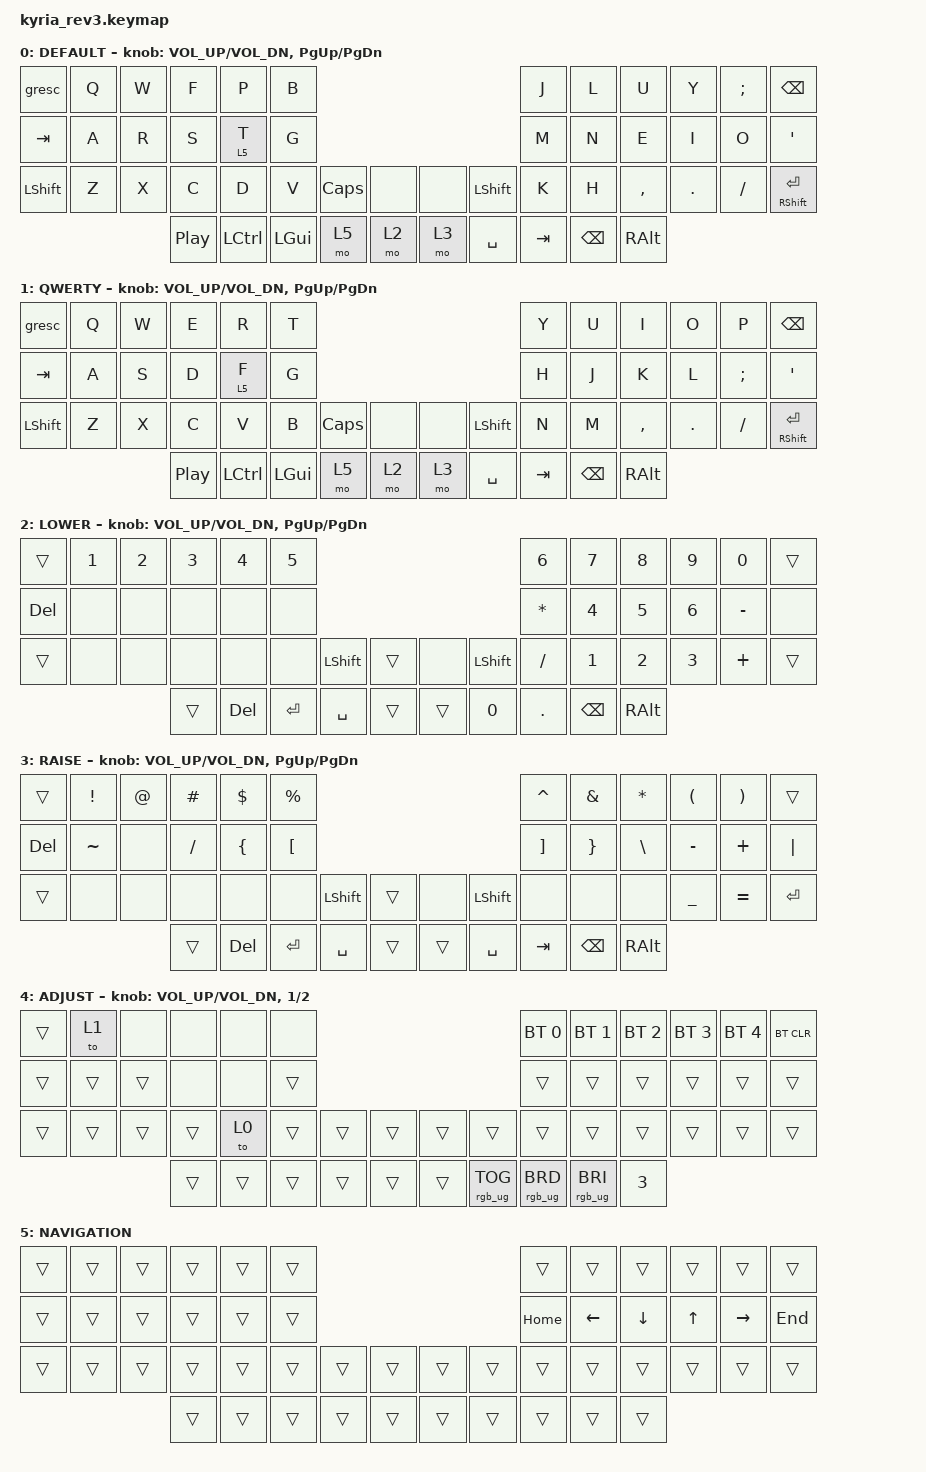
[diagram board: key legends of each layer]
/*
 * Copyright (c) 2023 The ZMK Contributors
 *
 * SPDX-License-Identifier: MIT
 */

#include <behaviors.dtsi>
#include <dt-bindings/zmk/bt.h>
#include <dt-bindings/zmk/keys.h>
#include <dt-bindings/zmk/rgb.h>

/* Layer name definitions. Top-to-bottom definition starting at zero and increasing by one.
 * See: https://github.com/zmkfirmware/zmk/issues/1284 for clarification.
 */

#define DEFAULT 0
#define QWERTY 1
#define LOWER 2
#define RAISE 3
#define ADJUST 4

&led_strip {
    chain-length = <31>; // Uncomment if using both per-key and underglow LEDs
};

&sensors { triggers-per-rotation = <36>; };

&left_encoder { steps = <72>; };

&right_encoder { steps = <72>; };

/ {
    behaviors {
        rgb_knob: rgb_knob {
            compatible = "zmk,behavior-sensor-rotate";
            #sensor-binding-cells = <0>;
            bindings = <&rgb_ug RGB_BRI>, <&rgb_ug RGB_BRD>;
        };
    };

    conditional_layers {
        compatible = "zmk,conditional-layers";

        adjust_layer {
            if-layers = <2 3>;
            then-layer = <4>;
        };
    };

    keymap {
        compatible = "zmk,keymap";

        DEFAULT {
            // ---------------------------------------------------------------------------------------------------------------------------------
            // |  ESC  |  Q  |  W  |  F   |  P   |  B   |                                        |  J   |  L    |  U    |  Y   |   ;   | BSPC |
            // |  TAB  |  A  |  R  |  S   |  T   |  G   |                                        |  M   |  N    |  E    |  I   |   O   |   '  |
            // | SHIFT |  Z  |  X  |  C   |  D   |  V   | L SHIFT | RAISE |    | RAISE | L SHIFT |  K   |  H    |  ,    |  .   |   /   | RET  |
            //                     |PLAPSE| DEL  | RET  |  SPACE  | LOWER |    | RCTRL |  SPACE  | TAB  | BSPC  | R-ALT |

            bindings = <
&gresc     &kp Q  &kp W  &kp F     &kp P      &kp B                                        &kp J    &kp L     &kp U      &kp Y    &kp SEMI  &kp BSPC
&kp TAB    &kp A  &kp R  &kp S     &lt 5 T    &kp G                                        &kp M    &kp N     &kp E      &kp I    &kp O     &kp SQT
&kp LSHFT  &kp Z  &kp X  &kp C     &kp D      &kp V     &kp CAPS  &none  &none  &kp LSHFT  &kp K    &kp H     &kp COMMA  &kp DOT  &kp FSLH  &mt RSHFT RET
                         &kp C_PP  &kp LCTRL  &kp LGUI  &mo 5     &mo 2  &mo 3  &kp SPACE  &kp TAB  &kp BSPC  &kp RALT
            >;

            sensor-bindings = <&inc_dec_kp C_VOL_UP C_VOL_DN &inc_dec_kp PG_UP PG_DN>;
        };

        QWERTY {
            // ---------------------------------------------------------------------------------------------------------------------------------
            // |  ESC  |  Q  |  W  |  E   |  R   |  T   |                                          |  Y   |  U    |  I    |  O   |   P   | BSPC |
            // |  TAB  |  A  |  S  |  D   |  F   |  G   |                                          |  H   |  J    |  K    |  L   |   ;   |   '  |
            // | SHIFT |  Z  |  X  |  C   |  V   |  B   | L SHIFT | RAISE |    |  RAISE  | L SHIFT |  N   |  M    |  ,    |  .   |   /   | RET  |
            //                     |PLAPSE| DEL  | RET  |  SPACE  | LOWER |    |  RCTRL  |  SPACE  | TAB  | BSPC  | R-ALT |

            bindings = <
&gresc     &kp Q  &kp W  &kp E     &kp R      &kp T                                        &kp Y    &kp U     &kp I      &kp O    &kp P     &kp BSPC
&kp TAB    &kp A  &kp S  &kp D     &lt 5 F    &kp G                                        &kp H    &kp J     &kp K      &kp L    &kp SEMI  &kp SQT
&kp LSHFT  &kp Z  &kp X  &kp C     &kp V      &kp B     &kp CAPS  &none  &none  &kp LSHFT  &kp N    &kp M     &kp COMMA  &kp DOT  &kp FSLH  &mt RSHFT RET
                         &kp C_PP  &kp LCTRL  &kp LGUI  &mo 5     &mo 2  &mo 3  &kp SPACE  &kp TAB  &kp BSPC  &kp RALT
            >;

            sensor-bindings = <&inc_dec_kp C_VOL_UP C_VOL_DN &inc_dec_kp PG_UP PG_DN>;
        };

        LOWER {
            // ---------------------------------------------------------------------------------------------------------------------------------
            // |  ESC  |  1  |  2  |  3   |  4   |  5   |                                          |  6   |  7    |  8    |  9   |   0   | BSPC |
            // |  TAB  |     |     |      |      |      |                                          |      |  4    |  5    |  6   |       |   '  |
            // | SHIFT |     |     |      |      |      | L SHIFT | L SHIFT |  | LAYER 1 | L SHIFT |      |  1    |  2    |  3   |       | RET  |
            //                     |      | DEL  | RET  |  SPACE  |   ESC   |  |         |  SPACE  | TAB  | BSPC  | R-ALT |

            bindings = <
&trans      &kp N1  &kp N2  &kp N3  &kp N4   &kp N5                                         &kp N6     &kp N7    &kp N8    &kp N9  &kp N0     &trans
&kp DELETE  &none   &none   &none   &none    &none                                          &kp ASTRK  &kp N4    &kp N5    &kp N6  &kp MINUS  &none
&trans      &none   &none   &none   &none    &none    &kp LSHFT  &trans  &none   &kp LSHFT  &kp FSLH   &kp N1    &kp N2    &kp N3  &kp PLUS   &trans
                            &trans  &kp DEL  &kp RET  &kp SPACE  &trans  &trans  &kp N0     &kp DOT    &kp BSPC  &kp RALT
            >;

            sensor-bindings = <&inc_dec_kp C_VOL_UP C_VOL_DN &inc_dec_kp PG_UP PG_DN>;
        };

        RAISE {
            // ---------------------------------------------------------------------------------------------------------------------------------
            // |  ESC  |  Q  |  W  |  E   |  R   |  T   |                                          |  Y   |  U    |  I    |  O   |   P   | BSPC |
            // |  TAB  |  A  |  S  |  D   |  F   |  G   |                                          |  H   |  J    |  K    |  L   |   ;   |   '  |
            // | SHIFT |  Z  |  X  |  C   |  V   |  B   | L SHIFT | L SHIFT |  | LAYER 1 | L SHIFT |  N   |  M    |  ,    |  .   |   /   | RET  |
            //                     |      | DEL  | RET  |  SPACE  |   ESC   |  |         |  SPACE  | TAB  | BSPC  | R-ALT |

            bindings = <
&trans   &kp EXCLAMATION  &kp AT  &kp HASH  &kp DLLR        &kp PRCNT                                               &kp CARET          &kp AMPS         &kp ASTRK      &kp LPAR   &kp RPAR   &trans
&kp DEL  &kp TILDE        &none   &kp FSLH  &kp LEFT_BRACE  &kp LEFT_BRACKET                                        &kp RIGHT_BRACKET  &kp RIGHT_BRACE  &kp BACKSLASH  &kp MINUS  &kp PLUS   &kp PIPE
&trans   &none            &none   &none     &none           &none             &kp LSHFT  &trans  &none   &kp LSHFT  &none              &none            &none          &kp UNDER  &kp EQUAL  &kp RET
                                  &trans    &kp DEL         &kp RET           &kp SPACE  &trans  &trans  &kp SPACE  &kp TAB            &kp BSPC         &kp RALT
            >;

            sensor-bindings = <&inc_dec_kp C_VOL_UP C_VOL_DN &inc_dec_kp PG_UP PG_DN>;
        };

        ADJUST {
            // ---------------------------------------------------------------------------------------------------------------------------------
            // |       |QWERTY|BT_CLR|BTSEL0|BTSEL1 |BTSEL2|                                         |      |      |      |      |      |      |
            // |       |      |      |BTSEL3|BTSEL4 |      |                                         |      |      |      |      |      |      |
            // |       |      |      |      |       |      |      |      |             |      |      |      |      |      |      |      |      |
            //                       |      |       |      |      |      |             |      |      |      |      |      |RGBBRI|

            bindings = <
&trans  &to 1   &none   &none   &none   &none                                            &bt BT_SEL 0     &bt BT_SEL 1     &bt BT_SEL 2  &bt BT_SEL 3  &bt BT_SEL 4  &bt BT_CLR
&trans  &trans  &trans  &none   &none   &trans                                           &trans           &trans           &trans        &trans        &trans        &trans
&trans  &trans  &trans  &trans  &to 0   &trans  &trans  &trans  &trans  &trans           &trans           &trans           &trans        &trans        &trans        &trans
                        &trans  &trans  &trans  &trans  &trans  &trans  &rgb_ug RGB_TOG  &rgb_ug RGB_BRD  &rgb_ug RGB_BRI  &kp N3
            >;

            sensor-bindings =
                <&inc_dec_kp C_VOL_UP C_VOL_DN>,
                <&inc_dec_kp N1 NUMBER_2>;
        };

        NAVIGATION {
            bindings = <
&trans  &trans  &trans  &trans  &trans  &trans                                  &trans    &trans    &trans    &trans  &trans     &trans
&trans  &trans  &trans  &trans  &trans  &trans                                  &kp HOME  &kp LEFT  &kp DOWN  &kp UP  &kp RIGHT  &kp END
&trans  &trans  &trans  &trans  &trans  &trans  &trans  &trans  &trans  &trans  &trans    &trans    &trans    &trans  &trans     &trans
                        &trans  &trans  &trans  &trans  &trans  &trans  &trans  &trans    &trans    &trans
            >;
        };
    };
};
